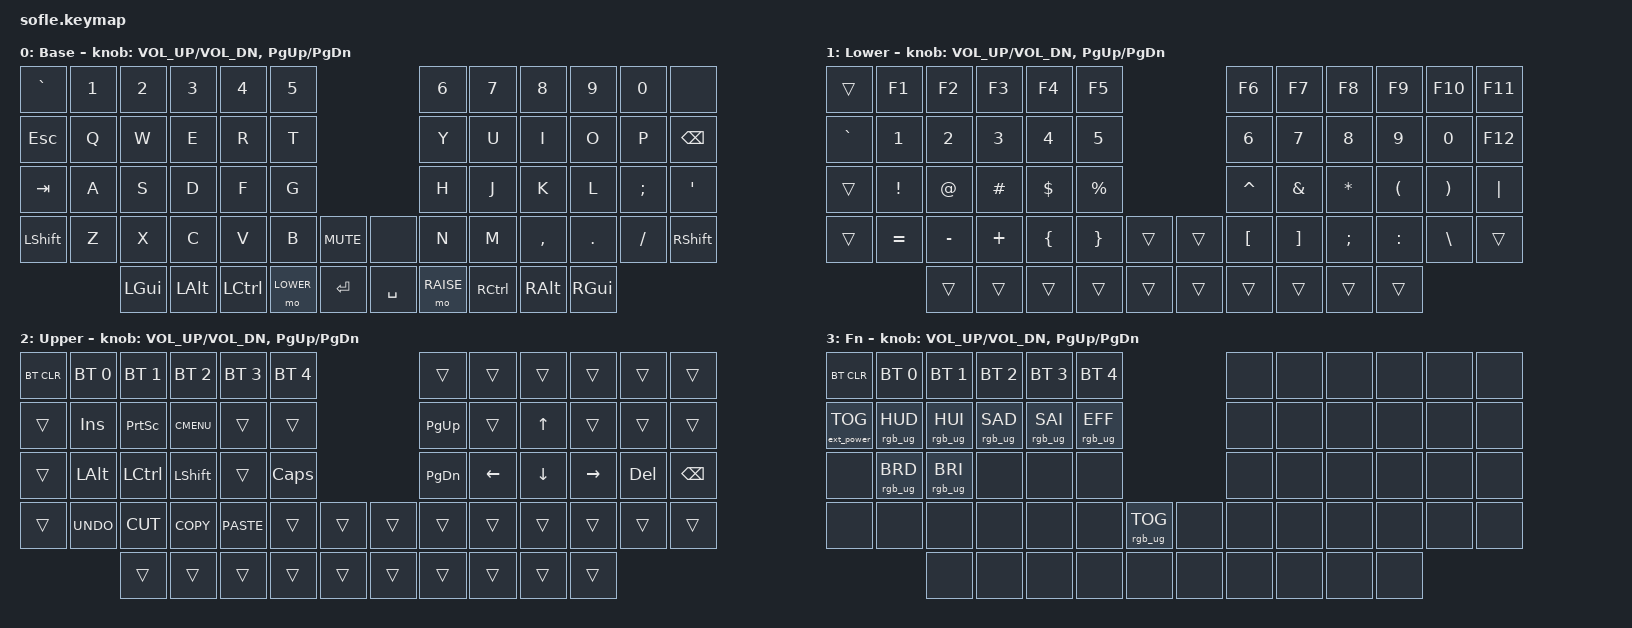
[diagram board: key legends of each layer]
#include <behaviors.dtsi>
#include <dt-bindings/zmk/keys.h>
#include <dt-bindings/zmk/bt.h>
#include <dt-bindings/zmk/rgb.h>
#include <dt-bindings/zmk/ext_power.h>

#define BASE 0
#define LOWER 1
#define RAISE 2
#define ADJUST 3

/ {
    keymap {
        compatible = "zmk,keymap";

        default_layer {
            display-name = "Base";
            bindings = <
&kp GRAVE &kp N1 &kp N2   &kp N3   &kp N4    &kp N5                           &kp N6 &kp N7    &kp N8    &kp N9   &kp N0   &none
&kp ESC   &kp Q  &kp W    &kp E    &kp R     &kp T                            &kp Y  &kp U     &kp I     &kp O    &kp P    &kp BSPC
&kp TAB   &kp A  &kp S    &kp D    &kp F     &kp G                            &kp H  &kp J     &kp K     &kp L    &kp SEMI &kp SQT
&kp LSHFT &kp Z  &kp X    &kp C    &kp V     &kp B      &kp C_MUTE &none      &kp N  &kp M     &kp COMMA &kp DOT  &kp FSLH &kp RSHFT
                 &kp LGUI &kp LALT &kp LCTRL &mo LOWER  &kp RET    &kp SPACE  &mo RAISE  &kp RCTRL &kp RALT  &kp RGUI
            >;

            sensor-bindings = <&inc_dec_kp C_VOL_UP C_VOL_DN &inc_dec_kp PG_UP PG_DN>;
        };

        lower_layer {
            display-name = "Lower";
            bindings = <
&trans    &kp F1    &kp F2    &kp F3      &kp F4    &kp F5                    &kp F6    &kp F7   &kp F8    &kp F9    &kp F10   &kp F11
&kp GRAVE &kp N1    &kp N2    &kp N3      &kp N4    &kp N5                    &kp N6    &kp N7   &kp N8    &kp N9    &kp N0    &kp F12
&trans    &kp EXCL  &kp AT    &kp HASH    &kp DLLR  &kp PRCNT                 &kp CARET &kp AMPS &kp ASTRK &kp LPAR  &kp RPAR  &kp PIPE
&trans    &kp EQUAL &kp MINUS &kp PLUS    &kp LBRC  &kp RBRC   &trans &trans  &kp LBKT  &kp RBKT &kp SEMI  &kp COLON &kp BSLH  &trans
                    &trans    &trans      &trans    &trans     &trans &trans  &trans    &trans   &trans    &trans
            >;

            sensor-bindings = <&inc_dec_kp C_VOL_UP C_VOL_DN &inc_dec_kp PG_UP PG_DN>;
        };

        raise_layer {
            display-name = "Upper";
            bindings = <
&bt BT_CLR &bt BT_SEL 0 &bt BT_SEL 1 &bt BT_SEL 2 &bt BT_SEL 3 &bt BT_SEL 4                  &trans    &trans    &trans   &trans    &trans  &trans
&trans     &kp INS      &kp PSCRN    &kp K_CMENU  &trans       &trans                        &kp PG_UP &trans    &kp UP   &trans    &trans  &trans
&trans     &kp LALT     &kp LCTRL    &kp LSHFT    &trans       &kp CLCK                      &kp PG_DN &kp LEFT  &kp DOWN &kp RIGHT &kp DEL &kp BSPC
&trans     &kp K_UNDO   &kp K_CUT    &kp K_COPY   &kp K_PASTE  &trans        &trans  &trans  &trans    &trans    &trans   &trans    &trans  &trans
                        &trans       &trans       &trans       &trans        &trans  &trans  &trans    &trans    &trans   &trans
            >;

            sensor-bindings = <&inc_dec_kp C_VOL_UP C_VOL_DN &inc_dec_kp PG_UP PG_DN>;
        };

        adjust_layer {
            display-name = "Fn";
            bindings = <
&bt BT_CLR        &bt BT_SEL 0    &bt BT_SEL 1    &bt BT_SEL 2    &bt BT_SEL 3    &bt BT_SEL 4                            &none &none &none &none &none &none
&ext_power EP_TOG &rgb_ug RGB_HUD &rgb_ug RGB_HUI &rgb_ug RGB_SAD &rgb_ug RGB_SAI &rgb_ug RGB_EFF                         &none &none &none &none &none &none
&none             &rgb_ug RGB_BRD &rgb_ug RGB_BRI &none           &none           &none                                   &none &none &none &none &none &none
&none             &none           &none           &none           &none           &none            &rgb_ug RGB_TOG &none  &none &none &none &none &none &none
                                  &none           &none           &none           &none            &none           &none  &none &none &none &none
            >;

            sensor-bindings = <&inc_dec_kp C_VOL_UP C_VOL_DN &inc_dec_kp PG_UP PG_DN>;
        };

        extra1 { status = "reserved"; };
        extra2 { status = "reserved"; };
        extra3 { status = "reserved"; };
        extra4 { status = "reserved"; };
    };
};
